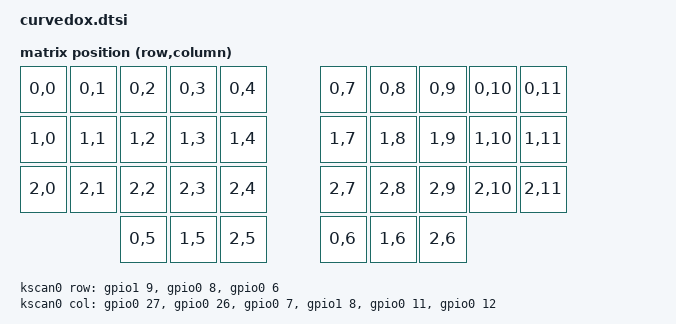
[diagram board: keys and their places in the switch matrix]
/*
 * Copyright (c) 2020 The ZMK Contributors
 *
 * SPDX-License-Identifier: MIT
 */
/* Fixed for corvedox */
#include <dt-bindings/zmk/matrix_transform.h>

/ {
	chosen {
		zmk,kscan = &kscan0;
		zmk,matrix_transform = &default_transform;
	};

	default_transform: keymap_transform_0 {
		compatible = "zmk,matrix-transform";
		columns = <12>;
		rows = <3>;
// | SW1  | SW2  | SW3  | SW4  | SW5  |   | SW5  | SW4  | SW3  | SW2  | SW1  |
// | SW6  | SW7  | SW8  | SW9  | SW10 |   | SW10 | SW9  | SW8  | SW7  | SW6  |
// | SW11 | SW12 | SW13 | SW14 | SW15 |   | SW15 | SW14 | SW13 | SW12 | SW11 |
//               | SW16 | SW17 | SW18 |   | SW18 | SW17 | SW16 |
		map = <
RC(0,0) RC(0,1) RC(0,2) RC(0,3) RC(0,4)  RC(0,7) RC(0,8) RC(0,9) RC(0,10) RC(0,11)
RC(1,0) RC(1,1) RC(1,2) RC(1,3) RC(1,4)  RC(1,7) RC(1,8) RC(1,9) RC(1,10) RC(1,11)
RC(2,0) RC(2,1) RC(2,2) RC(2,3) RC(2,4)  RC(2,7) RC(2,8) RC(2,9) RC(2,10) RC(2,11)
                RC(0,5) RC(1,5) RC(2,5)  RC(0,6) RC(1,6) RC(2,6)
		>;
	};

	kscan0: kscan {
		compatible = "zmk,kscan-gpio-matrix";
		label = "KSCAN";

		diode-direction = "col2row";
		
		col-gpios
			= <&gpio0 27 GPIO_ACTIVE_HIGH> 
			, <&gpio0 26 GPIO_ACTIVE_HIGH> 
			, <&gpio0 7 GPIO_ACTIVE_HIGH> 
			, <&gpio1 8 GPIO_ACTIVE_HIGH>
			, <&gpio0 11  GPIO_ACTIVE_HIGH>
			, <&gpio0 12 GPIO_ACTIVE_HIGH>
			;

			
		row-gpios
			= <&gpio1 9 (GPIO_ACTIVE_HIGH | GPIO_PULL_DOWN)>
			, <&gpio0 8 (GPIO_ACTIVE_HIGH | GPIO_PULL_DOWN)>
			, <&gpio0 6 (GPIO_ACTIVE_HIGH | GPIO_PULL_DOWN)>
			;	
/*
		col-gpios
			= <&feather_header 6 GPIO_ACTIVE_HIGH>
			, <&feather_header 7 GPIO_ACTIVE_HIGH>
			, <&feather_header 8 GPIO_ACTIVE_HIGH>
			, <&feather_header 9 GPIO_ACTIVE_HIGH>
			, <&feather_header 10 GPIO_ACTIVE_HIGH>
			, <&feather_header 11 GPIO_ACTIVE_HIGH>
			;

		row-gpios
			= <&feather_header 14 GPIO_ACTIVE_HIGH>
            , <&feather_header 13 GPIO_ACTIVE_HIGH>
            , <&feather_header 12 GPIO_ACTIVE_HIGH>
			;
*/		
	};

	// TODO: per-key RGB node(s)?
};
